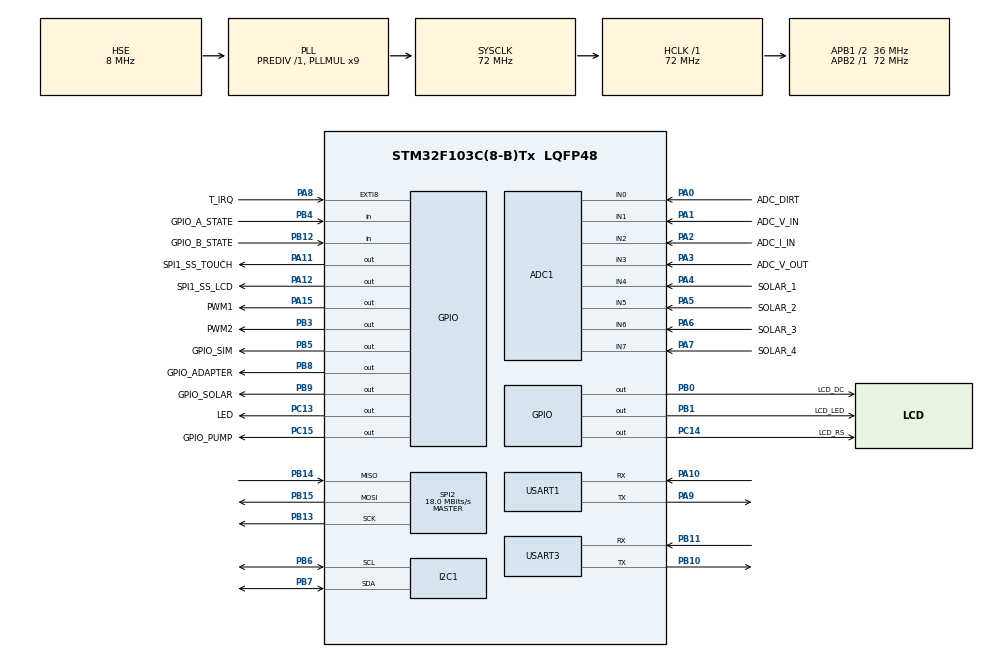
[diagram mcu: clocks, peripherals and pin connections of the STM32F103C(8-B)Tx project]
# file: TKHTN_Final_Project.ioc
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ADC1.Channel-0\#ChannelRegularConversion=ADC_CHANNEL_0
ADC1.ContinuousConvMode=DISABLE
ADC1.NbrOfConversion=1
ADC1.NbrOfConversionFlag=1
ADC1.Rank-0\#ChannelRegularConversion=1
ADC1.SamplingTime-0\#ChannelRegularConversion=ADC_SAMPLETIME_239CYCLES_5
ADC1.master=1
FREERTOS.BinarySemaphores01=BinarySem01,Dynamic,NULL
FREERTOS.HEAP_NUMBER=4
FREERTOS.Tasks01=SIM,24,250,MQTT_Task,Default,NULL,Dynamic,NULL,NULL;LCD,28,220,Display_Task,Default,NULL,Dynamic,NULL,NULL;IRQ,32,100,IRQ_Task,Default,NULL,Dynamic,NULL,NULL
FREERTOS.Timers01=Timer01,Action_Timer,osTimerPeriodic,Default,NULL,Dynamic,NULL;Timer02,LCD_TimeOut,osTimerOnce,Default,NULL,Dynamic,NULL;Timer03,Measure_Timer,osTimerPeriodic,Default,NULL,Dynamic,NULL
FREERTOS.configMINIMAL_STACK_SIZE=100
FREERTOS.configTIMER_TASK_STACK_DEPTH=100
FREERTOS.configUSE_PREEMPTION=1
IWDG.Prescaler=IWDG_PRESCALER_256
IWDG.Reload=1200
Mcu.Family=STM32F1
Mcu.Name=STM32F103C(8-B)Tx
Mcu.Package=LQFP48
NVIC.ADC1_2_IRQn=true\:5\:0\:false\:false\:true\:true\:true\:true
NVIC.EXTI9_5_IRQn=true\:5\:0\:false\:false\:true\:true\:true\:true
NVIC.I2C1_EV_IRQn=true\:5\:0\:false\:false\:true\:true\:true\:true
NVIC.PriorityGroup=NVIC_PRIORITYGROUP_4
NVIC.TIM1_UP_IRQn=true\:15\:0\:false\:false\:true\:false\:true\:true
NVIC.TIM2_IRQn=true\:5\:0\:false\:false\:true\:true\:true\:true
NVIC.TimeBase=TIM1_UP_IRQn
NVIC.TimeBaseIP=TIM1
NVIC.USART1_IRQn=true\:5\:0\:false\:false\:true\:true\:true\:true
PA0-WKUP.GPIO_Label=ADC_DIRT
PA0-WKUP.Signal=ADCx_IN0
PA1.GPIO_Label=ADC_V_IN
PA1.Signal=ADCx_IN1
PA10.Mode=Asynchronous
PA10.Signal=USART1_RX
PA11.GPIO_Label=SPI1_SS_TOUCH
PA11.Signal=GPIO_Output
PA12.GPIO_Label=SPI1_SS_LCD
PA12.Signal=GPIO_Output
PA13.Mode=Serial_Wire
PA13.Signal=SYS_JTMS-SWDIO
PA14.Mode=Serial_Wire
PA14.Signal=SYS_JTCK-SWCLK
PA15.GPIO_Label=PWM1
PA15.GPIO_PuPd=GPIO_PULLDOWN
PA15.GPIO_Speed=GPIO_SPEED_FREQ_MEDIUM
PA15.Signal=GPIO_Output
PA2.GPIO_Label=ADC_I_IN
PA2.Signal=ADCx_IN2
PA3.GPIO_Label=ADC_V_OUT
PA3.Signal=ADCx_IN3
PA4.GPIO_Label=SOLAR_1
PA4.Signal=ADCx_IN4
PA5.GPIO_Label=SOLAR_2
PA5.Signal=ADCx_IN5
PA6.GPIO_Label=SOLAR_3
PA6.Signal=ADCx_IN6
PA7.GPIO_Label=SOLAR_4
PA7.Signal=ADCx_IN7
PA8.GPIO_Label=T_IRQ
PA8.GPIO_ModeDefaultEXTI=GPIO_MODE_IT_FALLING
PA8.GPIO_PuPd=GPIO_PULLUP
PA8.Signal=GPXTI8
PA9.Mode=Asynchronous
PA9.Signal=USART1_TX
PB0.GPIO_Label=LCD_DC
PB0.Signal=GPIO_Output
PB1.GPIO_Label=LCD_LED
PB1.Signal=GPIO_Output
PB10.Mode=Asynchronous
PB10.Signal=USART3_TX
PB11.Mode=Asynchronous
PB11.Signal=USART3_RX
PB12.GPIO_Label=GPIO_B_STATE
PB12.GPIO_PuPd=GPIO_PULLDOWN
PB12.Signal=GPIO_Input
PB13.Mode=Full_Duplex_Master
PB13.Signal=SPI2_SCK
PB14.Mode=Full_Duplex_Master
PB14.Signal=SPI2_MISO
PB15.Mode=Full_Duplex_Master
PB15.Signal=SPI2_MOSI
PB3.GPIO_Label=PWM2
PB3.GPIO_PuPd=GPIO_PULLDOWN
PB3.GPIO_Speed=GPIO_SPEED_FREQ_MEDIUM
PB3.Signal=GPIO_Output
PB4.GPIO_Label=GPIO_A_STATE
PB4.GPIO_PuPd=GPIO_PULLDOWN
PB4.Signal=GPIO_Input
PB5.GPIO_Label=GPIO_SIM
PB5.GPIO_PuPd=GPIO_PULLDOWN
PB5.Signal=GPIO_Output
PB6.GPIO_Pu=GPIO_PULLUP
PB6.Mode=I2C
PB6.Signal=I2C1_SCL
PB7.GPIO_Pu=GPIO_PULLUP
PB7.Mode=I2C
PB7.Signal=I2C1_SDA
PB8.GPIO_Label=GPIO_ADAPTER
PB8.GPIO_PuPd=GPIO_PULLDOWN
PB8.Signal=GPIO_Output
PB9.GPIO_Label=GPIO_SOLAR
PB9.GPIO_PuPd=GPIO_PULLDOWN
PB9.Signal=GPIO_Output
PC13-TAMPER-RTC.GPIO_Label=LED
PC13-TAMPER-RTC.GPIO_PuPd=GPIO_PULLDOWN
PC13-TAMPER-RTC.Signal=GPIO_Output
PC14-OSC32_IN.GPIO_Label=LCD_RS
PC14-OSC32_IN.Signal=GPIO_Output
PC15-OSC32_OUT.GPIO_Label=GPIO_PUMP
PC15-OSC32_OUT.Signal=GPIO_Output
PD0-OSC_IN.Mode=HSE-External-Oscillator
PD0-OSC_IN.Signal=RCC_OSC_IN
PD1-OSC_OUT.Mode=HSE-External-Oscillator
PD1-OSC_OUT.Signal=RCC_OSC_OUT
ProjectManager.HeapSize=0x200
ProjectManager.StackSize=0x400
ProjectManager.TargetToolchain=Makefile
RCC.ADCPresc=RCC_ADCPCLK2_DIV6
RCC.AHBFreq_Value=72000000
RCC.APB1CLKDivider=RCC_HCLK_DIV2
RCC.APB1Freq_Value=36000000
RCC.APB1TimFreq_Value=72000000
RCC.APB2Freq_Value=72000000
RCC.APB2TimFreq_Value=72000000
RCC.HCLKFreq_Value=72000000
RCC.PLLMUL=RCC_PLL_MUL9
RCC.PLLSourceVirtual=RCC_PLLSOURCE_HSE
RCC.RTCClockSelection=RCC_RTCCLKSOURCE_HSE_DIV128
RCC.SYSCLKFreq_VALUE=72000000
RCC.SYSCLKSource=RCC_SYSCLKSOURCE_PLLCLK
RCC.USBFreq_Value=72000000
SH.ADCx_IN0.0=ADC1_IN0,IN0
SH.ADCx_IN0.1=ADC2_IN0
SH.ADCx_IN1.0=ADC1_IN1,IN1
SH.ADCx_IN2.0=ADC1_IN2,IN2
SH.ADCx_IN3.0=ADC1_IN3,IN3
SH.ADCx_IN4.0=ADC1_IN4,IN4
SH.ADCx_IN5.0=ADC1_IN5,IN5
SH.ADCx_IN6.0=ADC1_IN6,IN6
SH.ADCx_IN7.0=ADC1_IN7,IN7
SPI2.CRCCalculation=SPI_CRCCALCULATION_DISABLE
SPI2.CalculateBaudRate=18.0 MBits/s
SPI2.Direction=SPI_DIRECTION_2LINES
SPI2.Mode=SPI_MODE_MASTER
SPI2.VirtualType=VM_MASTER
TIM2.CounterMode=TIM_COUNTERMODE_DOWN
TIM2.Period=99
TIM2.Prescaler=719
USART1.VirtualMode=VM_ASYNC
USART3.VirtualMode=VM_ASYNC
VP_FREERTOS_VS_CMSIS_V2.Mode=CMSIS_V2
VP_IWDG_VS_IWDG.Mode=IWDG_Activate
VP_RTC_VS_RTC_Activate.Mode=RTC_Enabled
VP_RTC_VS_RTC_Calendar.Mode=RTC_Calendar
VP_SYS_VS_tim1.Mode=TIM1
VP_TIM2_VS_ClockSourceINT.Mode=Internal
board=custom

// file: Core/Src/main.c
/* USER CODE BEGIN Header */
/**
  ******************************************************************************
  * @file           : main.c
  * @brief          : Main program body
  ******************************************************************************
  * @attention
  *
  * <h2><center>&copy; Copyright (c) 2021 STMicroelectronics.
  * All rights reserved.</center></h2>
  *
  * This software component is licensed by ST under Ultimate Liberty license
  * SLA0044, the "License"; You may not use this file except in compliance with
  * the License. You may obtain a copy of the License at:
  *                             www.st.com/SLA0044
  *
  ******************************************************************************
  */
/* USER CODE END Header */
#include "main.h"
#include "cmsis_os.h"
#include "adc.h"
#include "i2c.h"
#include "iwdg.h"
#include "rtc.h"
#include "spi.h"
#include "tim.h"
#include "usart.h"
#include "gpio.h"

/* USER CODE BEGIN Includes */
#include "MQTTSim800.h"

/* USER CODE END Includes */

/* USER CODE BEGIN PD */
#define PWM_TOTAL_COUNT 2000
/* USER CODE END PD */

/* USER CODE BEGIN PV */

SIM800_t SIM800;
extern uint16_t PWM_Count;
extern uint8_t PWM_State;

/* USER CODE END PV */

void SystemClock_Config(void);
void MX_FREERTOS_Init(void);

/* USER CODE BEGIN 0 */
void HAL_UART_RxCpltCallback(UART_HandleTypeDef *huart)
{
  if (huart == UART_SIM800)
  {
    Sim800_RxCallBack();
  }
}

/* USER CODE END 0 */

int main(void)
{

  /* MCU Configuration--------------------------------------------------------*/

  /* Reset of all peripherals, Initializes the Flash interface and the Systick. */
  HAL_Init();

  /* Configure the system clock */
  SystemClock_Config();

  /* Initialize all configured peripherals */
  MX_GPIO_Init();
  MX_ADC1_Init();
  MX_USART1_UART_Init();
  MX_I2C1_Init();
  MX_SPI2_Init();
  MX_IWDG_Init();
  MX_TIM2_Init();
  MX_USART3_UART_Init();
  MX_RTC_Init();

  /* Init scheduler */
  osKernelInitialize();  /* Call init function for freertos objects (in freertos.c) */
  MX_FREERTOS_Init();
  /* Start scheduler */
  osKernelStart();

  /* We should never get here as control is now taken by the scheduler */
  /* Infinite loop */
  while (1)
  {

  }
}

void SystemClock_Config(void)
{
  RCC_OscInitTypeDef RCC_OscInitStruct = {0};
  RCC_ClkInitTypeDef RCC_ClkInitStruct = {0};
  RCC_PeriphCLKInitTypeDef PeriphClkInit = {0};

  /** Initializes the RCC Oscillators according to the specified parameters
  * in the RCC_OscInitTypeDef structure.
  */
  RCC_OscInitStruct.OscillatorType = RCC_OSCILLATORTYPE_LSI|RCC_OSCILLATORTYPE_HSE;
  RCC_OscInitStruct.HSEState = RCC_HSE_ON;
  RCC_OscInitStruct.HSEPredivValue = RCC_HSE_PREDIV_DIV1;
  RCC_OscInitStruct.HSIState = RCC_HSI_ON;
  RCC_OscInitStruct.LSIState = RCC_LSI_ON;
  RCC_OscInitStruct.PLL.PLLState = RCC_PLL_ON;
  RCC_OscInitStruct.PLL.PLLSource = RCC_PLLSOURCE_HSE;
  RCC_OscInitStruct.PLL.PLLMUL = RCC_PLL_MUL9;
  if (HAL_RCC_OscConfig(&RCC_OscInitStruct) != HAL_OK)
  {
    Error_Handler();
  }
  /** Initializes the CPU, AHB and APB buses clocks
  */
  RCC_ClkInitStruct.ClockType = RCC_CLOCKTYPE_HCLK|RCC_CLOCKTYPE_SYSCLK
                              |RCC_CLOCKTYPE_PCLK1|RCC_CLOCKTYPE_PCLK2;
  RCC_ClkInitStruct.SYSCLKSource = RCC_SYSCLKSOURCE_PLLCLK;
  RCC_ClkInitStruct.AHBCLKDivider = RCC_SYSCLK_DIV1;
  RCC_ClkInitStruct.APB1CLKDivider = RCC_HCLK_DIV2;
  RCC_ClkInitStruct.APB2CLKDivider = RCC_HCLK_DIV1;

  if (HAL_RCC_ClockConfig(&RCC_ClkInitStruct, FLASH_LATENCY_2) != HAL_OK)
  {
    Error_Handler();
  }
  PeriphClkInit.PeriphClockSelection = RCC_PERIPHCLK_RTC|RCC_PERIPHCLK_ADC;
  PeriphClkInit.RTCClockSelection = RCC_RTCCLKSOURCE_HSE_DIV128;
  PeriphClkInit.AdcClockSelection = RCC_ADCPCLK2_DIV6;
  if (HAL_RCCEx_PeriphCLKConfig(&PeriphClkInit) != HAL_OK)
  {
    Error_Handler();
  }
}

void HAL_TIM_PeriodElapsedCallback(TIM_HandleTypeDef *htim)
{
  if (htim->Instance == TIM1) {
    HAL_IncTick();
  }
  /* USER CODE BEGIN Callback 1 */
  if (htim->Instance == TIM2)
  {
    TIM_ClockConfigTypeDef sClockSourceConfig = {0};
    TIM_MasterConfigTypeDef sMasterConfig = {0};
    HAL_TIM_Base_Stop_IT(htim);

    if (PWM_State == 0)
    {
      htim->Instance->CNT = PWM_Count;
      HAL_GPIO_WritePin(PWM1_GPIO_Port, PWM1_Pin, 1);
      PWM_State = 1;
    }
    else
    {
      htim->Instance->CNT = PWM_TOTAL_COUNT - PWM_Count - 2;
      HAL_GPIO_WritePin(PWM1_GPIO_Port, PWM1_Pin, 0);
      PWM_State = 0;
    }
    HAL_TIM_Base_Start_IT(htim);
    }

  /* USER CODE END Callback 1 */
}

void Error_Handler(void)
{
  __disable_irq();
  while (1)
  {
  }
}

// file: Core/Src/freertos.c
/* USER CODE BEGIN Header */
/**
  ******************************************************************************
  * File Name          : freertos.c
  * Description        : Code for freertos applications
  ******************************************************************************
  * @attention
  *
  * <h2><center>&copy; Copyright (c) 2021 STMicroelectronics.
  * All rights reserved.</center></h2>
  *
  * This software component is licensed by ST under Ultimate Liberty license
  * SLA0044, the "License"; You may not use this file except in compliance with
  * the License. You may obtain a copy of the License at:
  *                             www.st.com/SLA0044
  *
  ******************************************************************************
  */
/* USER CODE END Header */

#include "FreeRTOS.h"
#include "task.h"
#include "main.h"
#include "cmsis_os.h"

/* USER CODE BEGIN Includes */

#include "MQTTSim800.h"
#include "lcd.h"
#include "i2c.h"
#include "timers.h"

/* USER CODE END Includes */

/* USER CODE BEGIN PTD */
typedef struct
{
  bool state;
  GPIO_TypeDef* GPIO_Port;
  uint16_t Pin;
} Power;

typedef struct
{
  double voltage;
} Level;

typedef struct
{
  float Temperature;
  float Humidity;
  uint8_t AHT10_RX_Data[6];
  uint32_t AHT10_ADC_Raw;
} Node;

typedef enum
{
  SLEEPING = 0,
  RUNNING = 1
} Mode;

typedef enum
{
  ADAPTER = 0,
  BATTERY = 1,
  BOTH = 2
} PowerMode;

typedef struct
{
  bool SIM;
  bool GPRS;
  bool MQTT;
  bool SENDING;
} SIM800_St;

typedef struct
{
  uint32_t MQTT_Task_Time[3];
  uint32_t LCD_Display_Time[3];
  uint32_t Measure_Time[3];
  uint32_t IRQ_Time[3];
} Time;
/* USER CODE END PTD */

/* USER CODE BEGIN PD */
#define AHT10_ADDRESS_1 (0x38 << 1) // 0b1110000; Adress[7-bit]Wite/Read[1-bit]
#define AHT10_ADDRESS_2 (0x39 << 1) // 0b1110000; Adress[7-bit]Wite/Read[1-bit]

#define TimeOut       60000
#define MeasurePeriod 3000
#define ActionPeriod  15000
#define VCC   (3.333)

#define MAX_PWM_COUNT 250
#define MIN_PWM_COUNT 50

#define MAX_DEG 180
#define MIN_DEG 0

/* USER CODE END PD */

/* USER CODE BEGIN Variables */
extern SPI_HandleTypeDef hspi2;
extern I2C_HandleTypeDef hi2c1;
extern ADC_HandleTypeDef hadc1;
extern TIM_HandleTypeDef htim2;
extern IWDG_HandleTypeDef hiwdg;
extern SIM800_t SIM800;
extern SIM800_St SIM800_Status;

Power Adapter = {false, GPIOB, GPIO_PIN_8};
Power Batt = {false, GPIOB, GPIO_PIN_9};
Power Pump = {false, GPIOC, GPIO_PIN_13};
Node Node_1 = {0, 0, {0}, 0};
Node Node_2 = {0, 0, {0}, 0};
float DirtHumd = 0;
Level LipoBatt = {0};
Level Solar = {0};
PowerMode PowerSate = BOTH;
uint16_t PWM_Count = MIN_PWM_COUNT;
uint8_t PWM_State = false;
uint8_t Deg = MIN_DEG;

Mode DeviceState = RUNNING;
uint8_t CurrentPage = 0;
Time Time_Check = {{0}, {0}, {0}, {0}};

myButton_t Button_1 = {175, 185, 0, 35, 26, ILI9341_WHITE, false, NULL};
myButton_t Button_2 = {250, 185, 0, 50, 26, ILI9341_WHITE, false, NULL};

/* USER CODE END Variables */
/* Definitions for SIM */
osThreadId_t SIMHandle;
const osThreadAttr_t SIM_attributes = {
  .name = "SIM",
  .stack_size = 250 * 4,
  .priority = (osPriority_t) osPriorityNormal,
};
/* Definitions for LCD */
osThreadId_t LCDHandle;
const osThreadAttr_t LCD_attributes = {
  .name = "LCD",
  .stack_size = 220 * 4,
  .priority = (osPriority_t) osPriorityNormal4,
};
/* Definitions for IRQ */
osThreadId_t IRQHandle;
const osThreadAttr_t IRQ_attributes = {
  .name = "IRQ",
  .stack_size = 100 * 4,
  .priority = (osPriority_t) osPriorityAboveNormal,
};
/* Definitions for Timer01 */
osTimerId_t Timer01Handle;
const osTimerAttr_t Timer01_attributes = {
  .name = "Timer01"
};
/* Definitions for Timer02 */
osTimerId_t Timer02Handle;
const osTimerAttr_t Timer02_attributes = {
  .name = "Timer02"
};
/* Definitions for Timer03 */
osTimerId_t Timer03Handle;
const osTimerAttr_t Timer03_attributes = {
  .name = "Timer03"
};
/* Definitions for BinarySem01 */
osSemaphoreId_t BinarySem01Handle;
const osSemaphoreAttr_t BinarySem01_attributes = {
  .name = "BinarySem01"
};
/* Definitions for BinarySem02 */
osSemaphoreId_t BinarySem02Handle;
const osSemaphoreAttr_t BinarySem02_attributes = {
  .name = "BinarySem02"
};

/* USER CODE BEGIN FunctionPrototypes */

uint16_t Deg2PWMCount(uint8_t deg);

/* USER CODE END FunctionPrototypes */

void MQTT_Task(void *argument);
void Display_Task(void *argument);
void IRQ_Task(void *argument);
void Action_Timer(void *argument);
void LCD_TimeOut(void *argument);
void Measure_Timer(void *argument);

void MX_FREERTOS_Init(void); /* (MISRA C 2004 rule 8.1) */

void MX_FREERTOS_Init(void) {

  /* Create the semaphores(s) */
  /* creation of BinarySem01 */
  BinarySem01Handle = osSemaphoreNew(1, 0, &BinarySem01_attributes);

  /* creation of BinarySem02 */
  BinarySem02Handle = osSemaphoreNew(1, 0, &BinarySem02_attributes);

  /* Create the timer(s) */
  /* creation of Timer01 */
  Timer01Handle = osTimerNew(Action_Timer, osTimerPeriodic, NULL, &Timer01_attributes);

  /* creation of Timer02 */
  Timer02Handle = osTimerNew(LCD_TimeOut, osTimerOnce, NULL, &Timer02_attributes);

  /* creation of Timer03 */
  Timer03Handle = osTimerNew(Measure_Timer, osTimerPeriodic, NULL, &Timer03_attributes);

  /* Create the thread(s) */
  /* creation of SIM */
  SIMHandle = osThreadNew(MQTT_Task, NULL, &SIM_attributes);

  /* creation of LCD */
  LCDHandle = osThreadNew(Display_Task, NULL, &LCD_attributes);

  /* creation of IRQ */
  IRQHandle = osThreadNew(IRQ_Task, NULL, &IRQ_attributes);

}

void MQTT_Task(void *argument)
{
  /* USER CODE BEGIN MQTT_Task */
  SIM800.sim.apn = "m3-world";
  SIM800.sim.apn_user = "mms";
  SIM800.sim.apn_pass = "mms";
  SIM800.mqttServer.host = "theodoihensuyen.vn";
  SIM800.mqttServer.port = 1883;
  SIM800.mqttClient.username = "";
  SIM800.mqttClient.clientID = "testPub";
  SIM800.mqttClient.pass = "";
  SIM800.mqttClient.keepAliveInterval = 120;

  bool ping = false;

  osDelay(2000);
  MQTT_Init();
  osDelay(1000);
  /* Infinite loop */
  for(;;)
  {
    if (osSemaphoreAcquire(BinarySem02Handle, portMAX_DELAY) == osOK)
    {
      Time_Check.MQTT_Task_Time[0] = HAL_GetTick();
      if((SIM800.mqttServer.connect == 0) || (SIM800_Status.SIM == 0) || (SIM800_Status.GPRS == 0) || (SIM800_Status.MQTT == 0))
      {
        MQTT_Init();
      }
      else if (!ping)
      {
        SIM800_Status.SENDING = true;
        if (Node_1.Temperature != 0.0)  {MQTT_PubFloat("MANDevices/Roof_Garden/Node_1_Environment/Temperature", Node_1.Temperature, 2);}
        // if (Node_1.Humidity != 0.0)     {MQTT_PubUint32("MANDevices/Roof_Garden/Node_1_Environment/Humidity", (int)Node_1.Humidity);}
        // if (Node_2.Temperature != 0.0)  {MQTT_PubFloat("MANDevices/Roof_Garden/Node_2_Environment/Temperature", Node_2.Temperature, 2);}
        // if (Node_2.Humidity != 0.0)     {MQTT_PubUint32("MANDevices/Roof_Garden/Node_2_Environment/Humidity", (int)Node_2.Humidity);}
        // if (DirtHumd != 0.0)            {MQTT_PubFloat("MANDevices/Roof_Garden/Dirt_Enviroment/Humidity", DirtHumd, 3);}
        // if (LipoBatt.voltage != 0.0)    {MQTT_PubFloat("MANDevices/Roof_Garden/Device_Power/LipoBatt", LipoBatt.voltage, 3);}
        // if (Solar.voltage != 0.0)       {MQTT_PubFloat("MANDevices/Roof_Garden/Device_Power/Solar", Solar.voltage, 3);}
        SIM800_Status.SENDING = false;
        ping = true;
      }
      else if (ping)
      {
        MQTT_PingReq();
        ping = false;
      }
      Time_Check.MQTT_Task_Time[1] = HAL_GetTick();
      Time_Check.MQTT_Task_Time[2] = Time_Check.MQTT_Task_Time[1] - Time_Check.MQTT_Task_Time[0];
      osDelay(30000);
    }
  }
  /* USER CODE END MQTT_Task */
}

void Display_Task(void *argument)
{
  /* USER CODE BEGIN Display_Task */

//  ----------------------------------------- Init LCD --------------------------------------------------
  ILI9341_Unselect();
  ILI9341_TouchUnselect();
  ILI9341_Init();
  ILI9341_FillScreen(ILI9341_BLACK);
//  ---------------------------- Strg to print ---------------------------
  char StrgTemp[6];
  char StrgHumd[3];
  char StrgVolt[6];
//  ------------------------------------------ Print Layout -----------------------------------------------

//  -------------------------------------------- Header ---------------------------------------------------
  ILI9341_WriteString(50, 10, "SIM: ", Font_7x10, ILI9341_WHITE, ILI9341_BLACK);
  if (SIM800_Status.SIM)  {ILI9341_WriteString(85, 10, "OK", Font_7x10, ILI9341_GREEN, ILI9341_BLACK);}
  else  {ILI9341_WriteString(85, 10, "nOK", Font_7x10, ILI9341_RED, ILI9341_BLACK);}

  ILI9341_WriteString(130, 10, "GPRS: ", Font_7x10, ILI9341_WHITE, ILI9341_BLACK);
  if (SIM800_Status.GPRS)  {ILI9341_WriteString(172, 10, "OK", Font_7x10, ILI9341_GREEN, ILI9341_BLACK);}
  else  {ILI9341_WriteString(172, 10, "nOK", Font_7x10, ILI9341_RED, ILI9341_BLACK);}

  ILI9341_WriteString(220, 10, "MQTT: ", Font_7x10, ILI9341_WHITE, ILI9341_BLACK);
  if (SIM800_Status.MQTT)  {ILI9341_WriteString(262, 10, "OK", Font_7x10, ILI9341_GREEN, ILI9341_BLACK);}
  else  {ILI9341_WriteString(262, 10, "nOK", Font_7x10, ILI9341_RED, ILI9341_BLACK);}

  ILI9341_DrawLine(160, 27, 160, 100, ILI9341_WHITE);

  ILI9341_WriteString(50, 30, "NODE 1", Font_11x18, ILI9341_WHITE, ILI9341_BLACK);
  ILI9341_WriteString(10, 55, "Temp: ", Font_11x18, ILI9341_ORANGE, ILI9341_BLACK);
  ftoa(Node_1.Temperature, StrgTemp, 2);
  ILI9341_WriteString(76, 55, StrgTemp, Font_11x18, ILI9341_ORANGE, ILI9341_BLACK);
  ILI9341_WriteString(132, 55, "o", Font_7x10, ILI9341_ORANGE, ILI9341_BLACK);
  ILI9341_WriteString(140, 55, "C", Font_11x18, ILI9341_ORANGE, ILI9341_BLACK);
  ILI9341_WriteString(10, 80, "Humd: ", Font_11x18, ILI9341_LIGHTBLUE, ILI9341_BLACK);
  intToStr((int)Node_1.Humidity, StrgHumd, 2);
  ILI9341_WriteString(76, 80, StrgHumd, Font_11x18, ILI9341_LIGHTBLUE, ILI9341_BLACK);
  ILI9341_WriteString(100, 80, "%", Font_11x18, ILI9341_LIGHTBLUE, ILI9341_BLACK);

  ILI9341_WriteString(210, 30, "NODE 2", Font_11x18, ILI9341_WHITE, ILI9341_BLACK);
  ILI9341_WriteString(170, 55, "Temp: ", Font_11x18, ILI9341_ORANGE, ILI9341_BLACK);
  ftoa(Node_2.Temperature, StrgTemp, 2);
  ILI9341_WriteString(236, 55, StrgTemp, Font_11x18, ILI9341_ORANGE, ILI9341_BLACK);
  ILI9341_WriteString(293, 55, "o", Font_7x10, ILI9341_ORANGE, ILI9341_BLACK);
  ILI9341_WriteString(300, 55, "C", Font_11x18, ILI9341_ORANGE, ILI9341_BLACK);
  ILI9341_WriteString(170, 80, "Humd: ", Font_11x18, ILI9341_LIGHTBLUE, ILI9341_BLACK);
  intToStr((int)Node_2.Humidity, StrgHumd, 2);
  ILI9341_WriteString(236, 80, StrgHumd, Font_11x18, ILI9341_LIGHTBLUE, ILI9341_BLACK);
  ILI9341_WriteString(260, 80, "%", Font_11x18, ILI9341_LIGHTBLUE, ILI9341_BLACK);

  ILI9341_WriteString(44, 110, "Dirt Voltage: ", Font_11x18, ILI9341_BROWN, ILI9341_BLACK);
  ftoa(DirtHumd, StrgVolt, 3);
  ILI9341_WriteString(209, 110, StrgVolt, Font_11x18, ILI9341_BROWN, ILI9341_BLACK);
  ILI9341_WriteString(264, 110, " V", Font_11x18, ILI9341_BROWN, ILI9341_BLACK);

  ILI9341_WriteString(44, 135, "Lipo Voltage: ", Font_11x18, ILI9341_RED, ILI9341_BLACK);
  ftoa(LipoBatt.voltage, StrgVolt, 3);
  ILI9341_WriteString(209, 135, StrgVolt, Font_11x18, ILI9341_RED, ILI9341_BLACK);
  ILI9341_WriteString(264, 135, " V", Font_11x18, ILI9341_RED, ILI9341_BLACK);

  ILI9341_WriteString(44, 160, "Solar Voltage: ", Font_11x18, ILI9341_YELLOW, ILI9341_BLACK);
  ftoa(Solar.voltage, StrgVolt, 3);
  ILI9341_WriteString(209, 160, StrgVolt, Font_11x18, ILI9341_YELLOW, ILI9341_BLACK);
  ILI9341_WriteString(264, 160, " V", Font_11x18, ILI9341_YELLOW, ILI9341_BLACK);

  ILI9341_WriteString(110, 190, "Pump: ", Font_11x18, ILI9341_WHITE, ILI9341_BLACK);
  if (Button_1.state == true)
  {
    ILI9341_FillRectangle(Button_1.pos_x, Button_1.pos_y, Button_1.shape_w, Button_1.shape_h, ILI9341_GREEN);
    ILI9341_WriteString(180, 190, "ON", Font_11x18, ILI9341_BLACK, ILI9341_GREEN);
  }
  else
  {
    ILI9341_FillRectangle(Button_1.pos_x, Button_1.pos_y, Button_1.shape_w, Button_1.shape_h, ILI9341_RED);
    ILI9341_WriteString(176, 190, "OFF", Font_11x18, ILI9341_BLACK, ILI9341_RED);
  }
  if (Button_2.state == true)
  {
    ILI9341_FillRectangle(Button_2.pos_x, Button_2.pos_y, Button_2.shape_w, Button_2.shape_h, ILI9341_GREEN);
    ILI9341_WriteString(253, 190, "AUTO", Font_11x18, ILI9341_BLACK, ILI9341_GREEN);
  }
  else
  {
    ILI9341_FillRectangle(Button_2.pos_x, Button_2.pos_y, Button_2.shape_w, Button_2.shape_h, ILI9341_RED);
    ILI9341_WriteString(253, 190, "AUTO", Font_11x18, ILI9341_BLACK, ILI9341_RED);
  }

  ILI9341_WriteString(83, 220, "Using: ", Font_11x18, ILI9341_WHITE, ILI9341_BLACK);
  ILI9341_WriteString(160, 220, "...", Font_11x18, ILI9341_WHITE, ILI9341_BLACK);

  //---------------------------------------------------- Check State ---------------------------------------------------------

  if (HAL_GPIO_ReadPin(GPIOB, GPIO_PIN_4) == 1)   {Adapter.state = true;}
  else  {Adapter.state = false;}
  if (HAL_GPIO_ReadPin(GPIOB, GPIO_PIN_12) == 1)  {Batt.state = true;}
  else  {Batt.state = false;}

  if (Adapter.state && Batt.state)        {PowerSate = BOTH;}
  else if (Adapter.state && !Batt.state)  {PowerSate = ADAPTER;}
  else if (!Adapter.state && Batt.state)  {PowerSate = BATTERY;}

  if (PowerSate != BATTERY) {HAL_GPIO_WritePin(GPIO_SIM_GPIO_Port, GPIO_SIM_Pin, 1);}

  //--------------------------------------------------- Timers Start ------------------------------------------------------------
  osTimerStart(Timer01Handle, ActionPeriod);
  osTimerStart(Timer02Handle, TimeOut);
  osTimerStart(Timer03Handle, MeasurePeriod);

  HAL_TIM_Base_Start_IT(&htim2);

  // /* Infinite loop */
  for(;;)
  {
    osThreadSuspend(LCDHandle);

    Time_Check.LCD_Display_Time[0] = HAL_GetTick();

//  -------------------------------------------------- UPDATE -------------------------------------------------------
    if (SIM800_Status.SIM)  {ILI9341_WriteString(85, 10, "OK ", Font_7x10, ILI9341_GREEN, ILI9341_BLACK);}
    else  {ILI9341_WriteString(85, 10, "nOK", Font_7x10, ILI9341_RED, ILI9341_BLACK);}
    if (SIM800_Status.GPRS)  {ILI9341_WriteString(172, 10, "OK ", Font_7x10, ILI9341_GREEN, ILI9341_BLACK);}
    else  {ILI9341_WriteString(172, 10, "nOK", Font_7x10, ILI9341_RED, ILI9341_BLACK);}
    if (SIM800_Status.MQTT)  {ILI9341_WriteString(262, 10, "OK ", Font_7x10, ILI9341_GREEN, ILI9341_BLACK);}
    else  {ILI9341_WriteString(262, 10, "nOK", Font_7x10, ILI9341_RED, ILI9341_BLACK);}
    if (SIM800_Status.SENDING == true)
    {
      ILI9341_DrawLine(306, 10, 301, 15, ILI9341_WHITE);
      ILI9341_DrawLine(306, 10, 311, 15, ILI9341_WHITE);
      ILI9341_DrawLine(306, 10, 306, 20, ILI9341_WHITE);
    }
    else  {ILI9341_WriteString(301, 10, " ", Font_11x18, ILI9341_WHITE, ILI9341_BLACK);}
    ftoa(Node_1.Temperature, StrgTemp, 2);
    ILI9341_WriteString(76, 55, StrgTemp, Font_11x18, ILI9341_ORANGE, ILI9341_BLACK);
    intToStr((int)Node_1.Humidity, StrgHumd, 2);
    ILI9341_WriteString(76, 80, StrgHumd, Font_11x18, ILI9341_LIGHTBLUE, ILI9341_BLACK);
    ftoa(Node_2.Temperature, StrgTemp, 2);
    ILI9341_WriteString(236, 55, StrgTemp, Font_11x18, ILI9341_ORANGE, ILI9341_BLACK);
    intToStr((int)Node_2.Humidity, StrgHumd, 2);
    ILI9341_WriteString(236, 80, StrgHumd, Font_11x18, ILI9341_LIGHTBLUE, ILI9341_BLACK);
    ftoa(DirtHumd, StrgVolt, 3);
    ILI9341_WriteString(209, 110, StrgVolt, Font_11x18, ILI9341_BROWN, ILI9341_BLACK);
    ftoa(LipoBatt.voltage, StrgVolt, 3);
    ILI9341_WriteString(209, 135, StrgVolt, Font_11x18, ILI9341_RED, ILI9341_BLACK);
    ftoa(Solar.voltage, StrgVolt, 3);
    ILI9341_WriteString(209, 160, StrgVolt, Font_11x18, ILI9341_YELLOW, ILI9341_BLACK);
    if (Button_1.state == true)
    {
      ILI9341_FillRectangle(Button_1.pos_x, Button_1.pos_y, Button_1.shape_w, Button_1.shape_h, ILI9341_GREEN);
      ILI9341_WriteString(180, 190, "ON", Font_11x18, ILI9341_BLACK, ILI9341_GREEN);
    }
    else
    {
      ILI9341_FillRectangle(Button_1.pos_x, Button_1.pos_y, Button_1.shape_w, Button_1.shape_h, ILI9341_RED);
      ILI9341_WriteString(176, 190, "OFF", Font_11x18, ILI9341_BLACK, ILI9341_RED);
    }
    if (Button_2.state == true)
    {
      ILI9341_FillRectangle(Button_2.pos_x, Button_2.pos_y, Button_2.shape_w, Button_2.shape_h, ILI9341_GREEN);
      ILI9341_WriteString(253, 190, "AUTO", Font_11x18, ILI9341_BLACK, ILI9341_GREEN);
    }
    else
    {
      ILI9341_FillRectangle(Button_2.pos_x, Button_2.pos_y, Button_2.shape_w, Button_2.shape_h, ILI9341_RED);
      ILI9341_WriteString(253, 190, "AUTO", Font_11x18, ILI9341_BLACK, ILI9341_RED);
    }
    if      (PowerSate == ADAPTER)  {ILI9341_WriteString(160, 220, "Adapter", Font_11x18, ILI9341_GREEN, ILI9341_BLACK);}
    else if (PowerSate == BATTERY)  {ILI9341_WriteString(160, 220, "Battery", Font_11x18, ILI9341_RED, ILI9341_BLACK);}
    else if (PowerSate == BOTH)
    {
      if (Adapter.state && Batt.state) {ILI9341_WriteString(160, 220, "Both   ", Font_11x18, ILI9341_WHITE, ILI9341_BLACK);}
      else if (!Adapter.state && Batt.state) {ILI9341_WriteString(160, 220, "Battery", Font_11x18, ILI9341_WHITE, ILI9341_BLACK);}
      else if (Adapter.state && !Batt.state) {ILI9341_WriteString(160, 220, "Adapter", Font_11x18, ILI9341_WHITE, ILI9341_BLACK);}
    }
    if (Adapter.state && Batt.state)  {ILI9341_WriteString(250, 220, ">>>", Font_11x18, ILI9341_BLACK, ILI9341_WHITE);}
    else  {ILI9341_WriteString(250, 220, "   ", Font_11x18, ILI9341_WHITE, ILI9341_BLACK);}

    Time_Check.LCD_Display_Time[1] = HAL_GetTick();
    Time_Check.LCD_Display_Time[2] = Time_Check.LCD_Display_Time[1] - Time_Check.LCD_Display_Time[0];
  }
  /* USER CODE END Display_Task */
}

void IRQ_Task(void *argument)
{
  /* USER CODE BEGIN IRQ_Task */
  uint16_t x, y;
  uint32_t currentTick = 0, lastTick = 0;

  /* Infinite loop */
  for(;;)
  {
    osDelay(100);
//  ----------------------------------- Wait for event --------------------------------------------
    if (osSemaphoreAcquire(BinarySem01Handle, portMAX_DELAY) == osOK)
    {
      Time_Check.IRQ_Time[0] = HAL_GetTick();
      osDelay(100);
//  ---------------------------------------- Check for debounce -----------------------------------
      currentTick = HAL_GetTick();
      if (HAL_GPIO_ReadPin(T_IRQ_GPIO_Port, T_IRQ_Pin) == 0 && ((currentTick - lastTick) >= 500))
      {
        lastTick = currentTick;
//  -------------------------------------- Get touch coordinates ----------------------------------
        HAL_SPI_DeInit(&hspi2);
        hspi2.Init.BaudRatePrescaler = SPI_BAUDRATEPRESCALER_128;
        HAL_SPI_Init(&hspi2);
        while(ILI9341_TouchGetCoordinates(&x, &y) != true);
        HAL_SPI_DeInit(&hspi2);
        hspi2.Init.BaudRatePrescaler = SPI_BAUDRATEPRESCALER_2;
        HAL_SPI_Init(&hspi2);
//  ------------------------------------------ Reset TimeOut Timer --------------------------------
        osTimerStop(Timer02Handle);
        xTimerReset(Timer02Handle, 100);
//  --------------------------------------- Handle touch ------------------------------------------
        if (DeviceState == SLEEPING)
        {
          //  ------------------------------ Turn ON LCD ------------------------------------------
          DeviceState = RUNNING;
          HAL_GPIO_WritePin(LCD_LED_GPIO_Port, LCD_LED_Pin, 1);
          osThreadResume(LCDHandle);
        }
        else
        {
          if ((x >= Button_1.pos_y) &&
              (x <= (Button_1.pos_y + Button_1.shape_h)) &&
              (y >= Button_1.pos_x) &&
              (y <= (Button_1.pos_x + Button_1.shape_w)) &&
              (PowerSate != BATTERY))
          {
            if (Button_1.state == false)
            {
              Button_1.state = true;
              HAL_GPIO_WritePin(Pump.GPIO_Port, Pump.Pin, 1);
              ILI9341_FillRectangle(175, 185, 35, 26, ILI9341_GREEN);
              ILI9341_WriteString(180, 190, "ON", Font_11x18, ILI9341_BLACK, ILI9341_GREEN);
            }
            else
            {
              Button_1.state = false;
              HAL_GPIO_WritePin(Pump.GPIO_Port, Pump.Pin, 0);
              ILI9341_FillRectangle(175, 185, 35, 26, ILI9341_RED);
              ILI9341_WriteString(176, 190, "OFF", Font_11x18, ILI9341_BLACK, ILI9341_RED);
            }
          }

          if ((x >= Button_2.pos_y) &&
              (x <= (Button_2.pos_y + Button_2.shape_h)) &&
              (y >= Button_2.pos_x) &&
              (y <= (Button_2.pos_x + Button_2.shape_w)) &&
              (PowerSate != BATTERY))
          {
            if (Button_2.state == false)
            {
              Button_2.state = true;
              ILI9341_FillRectangle(Button_2.pos_x, Button_2.pos_y, Button_2.shape_w, Button_2.shape_h, ILI9341_GREEN);
              ILI9341_WriteString(253, 190, "AUTO", Font_11x18, ILI9341_BLACK, ILI9341_GREEN);
            }
            else
            {
              Button_2.state = false;
              ILI9341_FillRectangle(Button_2.pos_x, Button_2.pos_y, Button_2.shape_w, Button_2.shape_h, ILI9341_RED);
              ILI9341_WriteString(253, 190, "AUTO", Font_11x18, ILI9341_BLACK, ILI9341_RED);
            }
          }

          if (Adapter.state && Batt.state && (x >= 220) && (x <= 239) && (y >= 250) && (y <= 283))
          {
            if (PowerSate == ADAPTER)
            {
              ILI9341_WriteString(160, 220, "Both   ", Font_11x18, ILI9341_WHITE, ILI9341_BLACK);
              HAL_GPIO_WritePin(GPIO_SIM_GPIO_Port, GPIO_SIM_Pin, 1);
              HAL_GPIO_WritePin(GPIO_SOLAR_GPIO_Port, GPIO_SOLAR_Pin, 0);
              HAL_GPIO_WritePin(GPIO_ADAPTER_GPIO_Port, GPIO_ADAPTER_Pin, 0);
              PowerSate = BOTH;
            }
            else if (PowerSate == BATTERY)
            {
              if (Button_2.state == true)
              {
                Button_2.state = false;
                ILI9341_FillRectangle(Button_2.pos_x, Button_2.pos_y, Button_2.shape_w, Button_2.shape_h, ILI9341_RED);
                ILI9341_WriteString(253, 190, "AUTO", Font_11x18, ILI9341_BLACK, ILI9341_RED);
              }
              if (Button_1.state == true)
              {
                Button_1.state = false;
                HAL_GPIO_WritePin(Pump.GPIO_Port, Pump.Pin, 0);
                ILI9341_FillRectangle(175, 185, 35, 26, ILI9341_RED);
                ILI9341_WriteString(176, 190, "OFF", Font_11x18, ILI9341_BLACK, ILI9341_RED);
              }
              ILI9341_WriteString(160, 220, "Adapter", Font_11x18, ILI9341_GREEN, ILI9341_BLACK);
              HAL_GPIO_WritePin(GPIO_SIM_GPIO_Port, GPIO_SIM_Pin, 1);
              osDelay(100);
              HAL_GPIO_WritePin(GPIO_ADAPTER_GPIO_Port, GPIO_ADAPTER_Pin, 0);
              osDelay(100);
              HAL_GPIO_WritePin(GPIO_SOLAR_GPIO_Port, GPIO_SOLAR_Pin, 1);
              PowerSate = ADAPTER;
            }
            else if (PowerSate == BOTH)
            {
              ILI9341_WriteString(160, 220, "Battery", Font_11x18, ILI9341_RED, ILI9341_BLACK);
              HAL_GPIO_WritePin(GPIO_ADAPTER_GPIO_Port, GPIO_ADAPTER_Pin, 1);
              osDelay(100);
              HAL_GPIO_WritePin(GPIO_SIM_GPIO_Port, GPIO_SIM_Pin, 0);
              if (Button_2.state == true)
              {
                Button_2.state = false;
                ILI9341_FillRectangle(Button_2.pos_x, Button_2.pos_y, Button_2.shape_w, Button_2.shape_h, ILI9341_RED);
                ILI9341_WriteString(253, 190, "AUTO", Font_11x18, ILI9341_BLACK, ILI9341_RED);
              }
              PowerSate = BATTERY;
            }
          }
        }
//  ----------------------------------------- Start TimeOut Timer again -----------------------------
        osTimerStart(Timer02Handle, TimeOut);
        Time_Check.IRQ_Time[1] = HAL_GetTick();
        Time_Check.IRQ_Time[2] = Time_Check.IRQ_Time[1] - Time_Check.IRQ_Time[0];
      }
    }
  }
  /* USER CODE END IRQ_Task */
}

/* Action_Timer function */
void Action_Timer(void *argument)
{
  /* USER CODE BEGIN Action_Timer */

//  ---------------------------------------- Automatic power mode switching ---------------------------------
  if((PowerSate == BATTERY) && (LipoBatt.voltage <= 3.8) && (Adapter.state == true))
  {
    ILI9341_WriteString(160, 220, "Adapter", Font_11x18, ILI9341_GREEN, ILI9341_BLACK);
    HAL_GPIO_WritePin(GPIO_SIM_GPIO_Port, GPIO_SIM_Pin, 1);
    osDelay(100);
    HAL_GPIO_WritePin(GPIO_ADAPTER_GPIO_Port, GPIO_ADAPTER_Pin, 0);
    osDelay(100);
    HAL_GPIO_WritePin(GPIO_SOLAR_GPIO_Port, GPIO_SOLAR_Pin, 1);
    PowerSate = ADAPTER;
  }
//  -------------------------------------------- Automatic pump ---------------------------------------------
  if ((Button_2.state == true) && (DirtHumd >= 2.5))
  {
    HAL_GPIO_WritePin(GPIO_PUMP_GPIO_Port, GPIO_PUMP_Pin, 1);
    osDelay(2000);
    HAL_GPIO_WritePin(GPIO_PUMP_GPIO_Port, GPIO_PUMP_Pin, 0);
  }
  /* USER CODE END Action_Timer */
}

/* LCD_TimeOut function */
void LCD_TimeOut(void *argument)
{
  /* USER CODE BEGIN LCD_TimeOut */
//  ----------------- Turn off LCD, switch mode and suspend LCD task ---------------------------
  HAL_GPIO_WritePin(LCD_LED_GPIO_Port, LCD_LED_Pin, 0);
  DeviceState = SLEEPING;
  osThreadSuspend(LCDHandle);
  /* USER CODE END LCD_TimeOut */
}

/* Measure_Timer function */
void Measure_Timer(void *argument)
{
  /* USER CODE BEGIN Measure_Timer */

  if (Deg < MAX_DEG)
  {
    PWM_Count = Deg2PWMCount(Deg);
    Deg += 3;
  }

  HAL_IWDG_Refresh(&hiwdg);

  Time_Check.Measure_Time[0] = HAL_GetTick();

  //----------------------------------------------------- I2C -----------------------------------------------------------
  uint8_t AHT10_TmpHum_Cmd[3] = {0xAC, 0x33, 0x00};

  MX_I2C1_Init();

  //----------------------------------------------------- I2C 1 ---------------------------------------------------------
  HAL_I2C_Master_Transmit_IT(&hi2c1, AHT10_ADDRESS_1, (uint8_t*)AHT10_TmpHum_Cmd, 3);
  osDelay(500);
  HAL_I2C_Master_Receive_IT(&hi2c1, AHT10_ADDRESS_1, (uint8_t*)Node_1.AHT10_RX_Data, 6);
  osDelay(200);
  if(~Node_1.AHT10_RX_Data[0] & 0x80)
  {
    /* Convert to Temperature in °C */
    Node_1.AHT10_ADC_Raw = (((uint32_t)Node_1.AHT10_RX_Data[3] & 15) << 16) | ((uint32_t)Node_1.AHT10_RX_Data[4] << 8) | Node_1.AHT10_RX_Data[5];
    Node_1.Temperature = (float)(Node_1.AHT10_ADC_Raw * 200.00 / 1048576.00) - 50.00;

    /* Convert to Relative Humidity in % */
    Node_1.AHT10_ADC_Raw = ((uint32_t)Node_1.AHT10_RX_Data[1] << 12) | ((uint32_t)Node_1.AHT10_RX_Data[2] << 4) | (Node_1.AHT10_RX_Data[3] >> 4);
    Node_1.Humidity = (float)(Node_1.AHT10_ADC_Raw*100.00/1048576.00);
  }
  //----------------------------------------------------- I2C 2 --------------------------------------------------------
  HAL_I2C_Master_Transmit_IT(&hi2c1, AHT10_ADDRESS_2, (uint8_t*)AHT10_TmpHum_Cmd, 3);
  osDelay(500);
  HAL_I2C_Master_Receive_IT(&hi2c1, AHT10_ADDRESS_2, (uint8_t*)Node_2.AHT10_RX_Data, 6);
  osDelay(200);
  if(~Node_2.AHT10_RX_Data[0] & 0x80)
  {
    /* Convert to Temperature in °C */
    Node_2.AHT10_ADC_Raw = (((uint32_t)Node_2.AHT10_RX_Data[3] & 15) << 16) | ((uint32_t)Node_2.AHT10_RX_Data[4] << 8) | Node_2.AHT10_RX_Data[5];
    Node_2.Temperature = (float)(Node_2.AHT10_ADC_Raw * 200.00 / 1048576.00) - 50.00;

    /* Convert to Relative Humidity in % */
    Node_2.AHT10_ADC_Raw = ((uint32_t)Node_2.AHT10_RX_Data[1] << 12) | ((uint32_t)Node_2.AHT10_RX_Data[2] << 4) | (Node_2.AHT10_RX_Data[3] >> 4);
    Node_2.Humidity = (float)(Node_2.AHT10_ADC_Raw * 100.00 / 1048576.00);
  }

  //-----------------------------------------------------ADC--------------------------------------------------
  ADC_ChannelConfTypeDef sConfig = {0};
  uint16_t ADC_t[3];
  //------------------------------------------Channel 0----------------------------------------------

  sConfig.Channel = ADC_CHANNEL_0;
  sConfig.Rank = ADC_REGULAR_RANK_1;
  sConfig.SamplingTime = ADC_SAMPLETIME_239CYCLES_5;
  if (HAL_ADC_ConfigChannel(&hadc1, &sConfig) != HAL_OK)
  {
    Error_Handler();
  }
  HAL_ADC_Start(&hadc1);
  HAL_ADC_PollForConversion(&hadc1, 100);
  ADC_t[0] = HAL_ADC_GetValue(&hadc1);
  DirtHumd = (ADC_t[0] * VCC / 4095) - 0.175;
  HAL_ADC_Stop(&hadc1);

  //-------------------------------------------Channel 1--------------------------------------------
  sConfig.Channel = ADC_CHANNEL_1;
  if (HAL_ADC_ConfigChannel(&hadc1, &sConfig) != HAL_OK)
  {
    Error_Handler();
  }
  HAL_ADC_Start(&hadc1);
  HAL_ADC_PollForConversion(&hadc1, 100);
  ADC_t[1] = HAL_ADC_GetValue(&hadc1);
  Solar.voltage = ADC_t[1] * VCC * 2.232 / 4095;
  HAL_ADC_Stop(&hadc1);

  //-------------------------------------------Channel 3--------------------------------------------
  sConfig.Channel = ADC_CHANNEL_3;
  if (HAL_ADC_ConfigChannel(&hadc1, &sConfig) != HAL_OK)
  {
    Error_Handler();
  }
  HAL_ADC_Start(&hadc1);
  HAL_ADC_PollForConversion(&hadc1, 100);
  ADC_t[2] = HAL_ADC_GetValue(&hadc1);
  LipoBatt.voltage = ADC_t[2] * VCC * 3.963 / 4095;
  HAL_ADC_Stop(&hadc1);

  //------------------------------------------------------- Check State --------------------------------------------

  if (HAL_GPIO_ReadPin(GPIOB, GPIO_PIN_4) == 1)   {Adapter.state = true;}
  else  {Adapter.state = false;}
  if (HAL_GPIO_ReadPin(GPIOB, GPIO_PIN_12) == 1)  {Batt.state = true;}
  else  {Batt.state = false;}

  //------------------------------------------------ Done Measuring -> Print new data ------------------------------
  Time_Check.Measure_Time[1] = HAL_GetTick();
  Time_Check.Measure_Time[2] = Time_Check.Measure_Time[1] - Time_Check.Measure_Time[0];
  osSemaphoreRelease(BinarySem02Handle);
  if (DeviceState == RUNNING)   {osThreadResume(LCDHandle);}

  /* USER CODE END Measure_Timer */
}

/* USER CODE BEGIN Application */
void HAL_GPIO_EXTI_Callback(uint16_t GPIO_Pin)
{
  if (GPIO_Pin == T_IRQ_Pin)
  {
    osSemaphoreRelease(BinarySem01Handle);
  }
}

uint16_t Deg2PWMCount(uint8_t deg)
{
  return (uint16_t)(50 + (uint16_t)((deg * (MAX_PWM_COUNT - MIN_PWM_COUNT)) / (MAX_DEG - MIN_DEG)));
}

/* USER CODE END Application */
